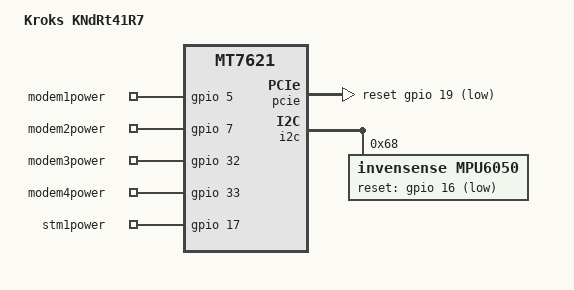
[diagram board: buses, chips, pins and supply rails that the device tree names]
#include "mt7621_kroks_wifi_mt7603_mt7613.dtsi"

/ {
	compatible = "kroks,kndrt41r7", "mediatek,mt7621-soc";
	model = "Kroks KNdRt41R7";

	gpio_export {
		compatible = "gpio-export";
		#size-cells = <0>;

		modem1power {
			gpio-export,name = "modem1power";
			gpio-export,output = <1>;
			gpios = <&gpio 5 GPIO_ACTIVE_HIGH>;
		};

		modem2power {
			gpio-export,name = "modem2power";
			gpio-export,output = <1>;
			gpios = <&gpio 7 GPIO_ACTIVE_HIGH>;
		};

		modem3power {
			gpio-export,name = "modem3power";
			gpio-export,output = <1>;
			gpios = <&gpio 32 GPIO_ACTIVE_HIGH>;
		};

		modem4power {
			gpio-export,name = "modem4power";
			gpio-export,output = <1>;
			gpios = <&gpio 33 GPIO_ACTIVE_HIGH>;
		};

		stm1power {
			gpio-export,name = "stm1power";
			gpio-export,output = <1>;
			gpios = <&gpio 17 GPIO_ACTIVE_HIGH>;
		};
	};
};

&ethernet {
	pinctrl-0 = <&mdio_pins>, <&rgmii1_pins>;
};

&switch0 {
	ports {
		port@0 {
			status = "okay";
			label = "wan";
			nvmem-cells = <&macaddr_factory_2e>;
			nvmem-cell-names = "mac-address";
		};

		port@1 {
			status = "okay";
			label = "lan1";
		};

		port@2 {
			status = "okay";
			label = "lan2";
		};

		port@3 {
			status = "okay";
			label = "lan3";
		};
	};
};

&state_default {
	gpio {
		groups = "uart2", "rgmii2";
		function = "gpio";
	};
};

&xhci {
	mediatek,u2p-dis-msk = <0x2>;
	mediatek,u3p-dis-msk = <0x1>;
};

&pcie {
	reset-gpios = <&gpio 19 GPIO_ACTIVE_LOW>,
		      <>,
		      <&gpio 14 GPIO_ACTIVE_LOW>;
};

&i2c {
	status = "okay";

	mpu6050@68 {
		compatible = "invensense,mpu6050";
		reg = <0x68>;
		reset-gpios = <&gpio 16 GPIO_ACTIVE_LOW>;
	};
};
